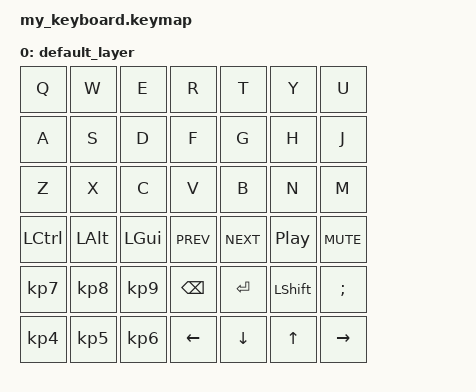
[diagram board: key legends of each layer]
/*
 * Copyright (c) 2024 Antrun Alvarado
 *
 * SPDX-License-Identifier: MIT
 */

#include <behaviors.dtsi>
#include <dt-bindings/zmk/keys.h>
#include <dt-bindings/zmk/bt.h>

/ {
    keymap {
        compatible = "zmk,keymap";

        default_layer {
            // Your keyboard is 6 rows by 7 columns
            // This is a basic layout to test if your matrix is working.
            bindings = <
            &kp Q  &kp W  &kp E  &kp R  &kp T  &kp Y  &kp U
            &kp A  &kp S  &kp D  &kp F  &kp G  &kp H  &kp J
            &kp Z  &kp X  &kp C  &kp V  &kp B  &kp N  &kp M
            &kp LCTRL &kp LALT &kp LGUI &kp C_PREV &kp C_NEXT &kp C_PP &kp C_MUTE
            &kp KP_N7 &kp KP_N8 &kp KP_N9 &kp BSPC &kp ENTER &kp LSHFT &kp SEMI
            &kp KP_N4 &kp KP_N5 &kp KP_N6 &kp LEFT &kp DOWN &kp UP &kp RIGHT
            >;
        };
    };
};
